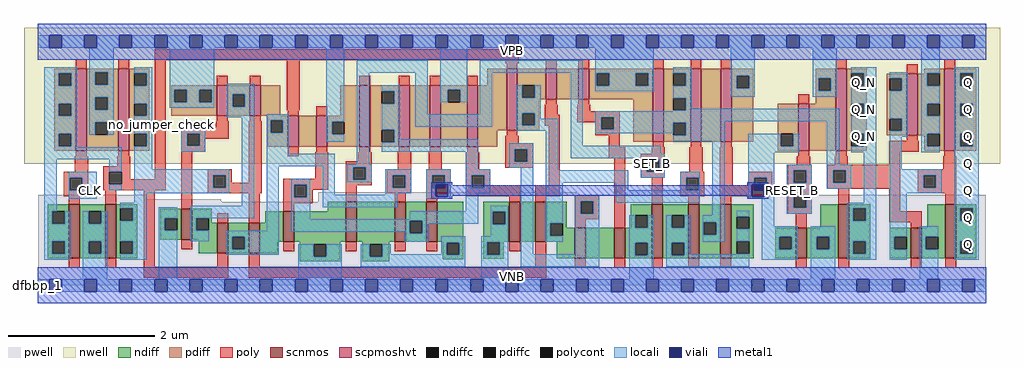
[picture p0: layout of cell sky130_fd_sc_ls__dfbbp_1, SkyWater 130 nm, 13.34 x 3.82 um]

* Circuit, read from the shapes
.subckt sky130_fd_sc_ls__dfbbp_1 CLK D RESET_B SET_B VGND VNB VPB VPWR Q Q_N
XM1 VGND CLK n1 VNB sky130_fd_pr__nfet_01v8 w=0.74 l=0.15
XM2 n2 n1 VGND VNB sky130_fd_pr__nfet_01v8 w=0.74 l=0.15
XM3 n3 D VGND VNB sky130_fd_pr__nfet_01v8 w=0.42 l=0.15
XM4 n4 n1 n3 VNB sky130_fd_pr__nfet_01v8 w=0.42 l=0.15
XM5 n5 n2 n4 VNB sky130_fd_pr__nfet_01v8 w=0.42 l=0.15
XM6 VGND n6 n5 VNB sky130_fd_pr__nfet_01v8 w=0.42 l=0.15
XM7 n7 SET_B VGND VNB sky130_fd_pr__nfet_01v8 w=0.55 l=0.15
XM8 n6 n4 n7 VNB sky130_fd_pr__nfet_01v8 w=0.55 l=0.15
XM9 n7 n8 n6 VNB sky130_fd_pr__nfet_01v8 w=0.55 l=0.15
XM10 n9 n6 VGND VNB sky130_fd_pr__nfet_01v8 w=0.55 l=0.15
XM11 n10 n2 n9 VNB sky130_fd_pr__nfet_01v8 w=0.55 l=0.15
XM12 n11 n1 n10 VNB sky130_fd_pr__nfet_01v8 w=0.42 l=0.15
XM13 VGND n12 n11 VNB sky130_fd_pr__nfet_01v8 w=0.42 l=0.15
XM14 n13 SET_B VGND VNB sky130_fd_pr__nfet_01v8 w=0.74 l=0.15
XM15 n12 n10 n13 VNB sky130_fd_pr__nfet_01v8 w=0.74 l=0.15
XM16 n13 n8 n12 VNB sky130_fd_pr__nfet_01v8 w=0.74 l=0.15
XM17 VGND RESET_B n8 VNB sky130_fd_pr__nfet_01v8 w=0.42 l=0.15
XM18 Q_N n12 VGND VNB sky130_fd_pr__nfet_01v8 w=0.74 l=0.15
XM19 VGND n12 n14 VNB sky130_fd_pr__nfet_01v8 w=0.42 l=0.15
XM20 Q n14 VGND VNB sky130_fd_pr__nfet_01v8 w=0.74 l=0.15
XM21 VPWR CLK n1 VPB sky130_fd_pr__pfet_01v8_hvt w=1.12 l=0.15
XM22 n2 n1 VPWR VPB sky130_fd_pr__pfet_01v8_hvt w=1.12 l=0.15
XM23 n3 D VPWR VPB sky130_fd_pr__pfet_01v8_hvt w=0.42 l=0.15
XM24 n4 n2 n3 VPB sky130_fd_pr__pfet_01v8_hvt w=0.42 l=0.15
XM25 n15 n1 n4 VPB sky130_fd_pr__pfet_01v8_hvt w=0.42 l=0.15
XM26 VPWR n6 n15 VPB sky130_fd_pr__pfet_01v8_hvt w=0.42 l=0.15
XM27 n6 SET_B VPWR VPB sky130_fd_pr__pfet_01v8_hvt w=0.84 l=0.15
XM28 n16 n4 n6 VPB sky130_fd_pr__pfet_01v8_hvt w=0.84 l=0.15
XM29 VPWR n8 n16 VPB sky130_fd_pr__pfet_01v8_hvt w=0.84 l=0.15
XM30 n17 n6 VPWR VPB sky130_fd_pr__pfet_01v8_hvt w=0.84 l=0.15
XM31 n10 n1 n17 VPB sky130_fd_pr__pfet_01v8_hvt w=0.84 l=0.15
XM32 n18 n2 n10 VPB sky130_fd_pr__pfet_01v8_hvt w=0.42 l=0.15
XM33 VPWR n12 n18 VPB sky130_fd_pr__pfet_01v8_hvt w=0.42 l=0.15
XM34 n12 SET_B VPWR VPB sky130_fd_pr__pfet_01v8_hvt w=1 l=0.15
XM35 n19 n10 n12 VPB sky130_fd_pr__pfet_01v8_hvt w=1 l=0.15
XM36 VPWR n8 n19 VPB sky130_fd_pr__pfet_01v8_hvt w=1 l=0.15
XM37 VPWR RESET_B n8 VPB sky130_fd_pr__pfet_01v8_hvt w=0.64 l=0.15
XM38 Q_N n12 VPWR VPB sky130_fd_pr__pfet_01v8_hvt w=1.12 l=0.15
XM39 VPWR n12 n14 VPB sky130_fd_pr__pfet_01v8_hvt w=0.84 l=0.15
XM40 Q n14 VPWR VPB sky130_fd_pr__pfet_01v8_hvt w=1.12 l=0.15
.ends

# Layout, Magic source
magic
tech sky130A
magscale 1 2
<< nwell >>
rect -38 332 2630 704
<< pwell >>
rect 766 248 1472 255
rect 1 235 297 248
rect 1 229 501 235
rect 766 229 2591 248
rect 1 49 2591 229
rect 0 0 2592 49
<< scnmos >>
rect 84 74 114 222
rect 184 74 214 222
rect 392 125 422 209
rect 490 87 520 171
rect 576 87 606 171
rect 671 119 701 203
rect 842 119 872 229
rect 976 119 1006 229
rect 1062 119 1092 229
rect 1288 119 1318 229
rect 1360 119 1390 229
rect 1468 74 1498 158
rect 1576 74 1606 158
rect 1678 74 1708 222
rect 1778 74 1808 222
rect 1865 74 1895 222
rect 2072 74 2102 158
rect 2188 74 2218 222
rect 2386 74 2416 158
rect 2481 74 2511 222
<< scpmoshvt >>
rect 104 368 134 592
rect 220 368 250 592
rect 489 463 519 547
rect 579 463 609 547
rect 683 379 713 463
rect 761 379 791 463
rect 879 379 909 547
rect 987 379 1017 547
rect 1071 379 1101 547
rect 1173 379 1203 547
rect 1281 424 1311 592
rect 1388 508 1418 592
rect 1477 508 1507 592
rect 1681 392 1711 592
rect 1784 392 1814 592
rect 1867 392 1897 592
rect 2078 368 2108 496
rect 2181 368 2211 592
rect 2375 410 2405 578
rect 2478 368 2508 592
<< ndiff >>
rect 27 202 84 222
rect 27 168 39 202
rect 73 168 84 202
rect 27 120 84 168
rect 27 86 39 120
rect 73 86 84 120
rect 27 74 84 86
rect 114 202 184 222
rect 114 168 139 202
rect 173 168 184 202
rect 114 120 184 168
rect 114 86 139 120
rect 173 86 184 120
rect 114 74 184 86
rect 214 210 271 222
rect 214 176 225 210
rect 259 176 271 210
rect 214 120 271 176
rect 214 86 225 120
rect 259 86 271 120
rect 214 74 271 86
rect 335 184 392 209
rect 335 150 347 184
rect 381 150 392 184
rect 335 125 392 150
rect 422 184 475 209
rect 422 150 433 184
rect 467 171 475 184
rect 792 203 842 229
rect 621 171 671 203
rect 467 150 490 171
rect 422 125 490 150
rect 440 87 490 125
rect 520 133 576 171
rect 520 99 531 133
rect 565 99 576 133
rect 520 87 576 99
rect 606 119 671 171
rect 701 119 842 203
rect 872 119 976 229
rect 1006 177 1062 229
rect 1006 143 1017 177
rect 1051 143 1062 177
rect 1006 119 1062 143
rect 1092 119 1163 229
rect 606 87 656 119
rect 716 112 827 119
rect 716 78 754 112
rect 788 78 827 112
rect 887 112 961 119
rect 716 66 827 78
rect 887 78 907 112
rect 941 78 961 112
rect 1107 117 1163 119
rect 887 66 961 78
rect 1107 83 1118 117
rect 1152 83 1163 117
rect 1107 71 1163 83
rect 1217 201 1288 229
rect 1217 167 1243 201
rect 1277 167 1288 201
rect 1217 119 1288 167
rect 1318 119 1360 229
rect 1390 169 1446 229
rect 1390 135 1401 169
rect 1435 158 1446 169
rect 1621 192 1678 222
rect 1621 158 1633 192
rect 1667 158 1678 192
rect 1435 135 1468 158
rect 1390 119 1468 135
rect 1217 118 1273 119
rect 1217 84 1228 118
rect 1262 84 1273 118
rect 1217 72 1273 84
rect 1418 74 1468 119
rect 1498 74 1576 158
rect 1606 116 1678 158
rect 1606 82 1633 116
rect 1667 82 1678 116
rect 1606 74 1678 82
rect 1708 192 1778 222
rect 1708 158 1733 192
rect 1767 158 1778 192
rect 1708 116 1778 158
rect 1708 82 1733 116
rect 1767 82 1778 116
rect 1708 74 1778 82
rect 1808 172 1865 222
rect 1808 138 1820 172
rect 1854 138 1865 172
rect 1808 74 1865 138
rect 1895 188 1957 222
rect 1895 154 1911 188
rect 1945 154 1957 188
rect 2138 158 2188 222
rect 1895 120 1957 154
rect 1895 86 1911 120
rect 1945 86 1957 120
rect 1895 74 1957 86
rect 2015 133 2072 158
rect 2015 99 2027 133
rect 2061 99 2072 133
rect 2015 74 2072 99
rect 2102 133 2188 158
rect 2102 99 2129 133
rect 2163 99 2188 133
rect 2102 74 2188 99
rect 2218 210 2275 222
rect 2218 176 2229 210
rect 2263 176 2275 210
rect 2218 120 2275 176
rect 2431 158 2481 222
rect 2218 86 2229 120
rect 2263 86 2275 120
rect 2218 74 2275 86
rect 2329 133 2386 158
rect 2329 99 2341 133
rect 2375 99 2386 133
rect 2329 74 2386 99
rect 2416 133 2481 158
rect 2416 99 2427 133
rect 2461 99 2481 133
rect 2416 74 2481 99
rect 2511 210 2565 222
rect 2511 176 2522 210
rect 2556 176 2565 210
rect 2511 120 2565 176
rect 2511 86 2522 120
rect 2556 86 2565 120
rect 2511 74 2565 86
<< pdiff >>
rect 45 580 104 592
rect 45 546 57 580
rect 91 546 104 580
rect 45 497 104 546
rect 45 463 57 497
rect 91 463 104 497
rect 45 414 104 463
rect 45 380 57 414
rect 91 380 104 414
rect 45 368 104 380
rect 134 582 220 592
rect 134 548 157 582
rect 191 548 220 582
rect 134 514 220 548
rect 134 480 157 514
rect 191 480 220 514
rect 134 446 220 480
rect 134 412 157 446
rect 191 412 220 446
rect 134 368 220 412
rect 250 580 305 592
rect 250 546 263 580
rect 297 546 305 580
rect 250 497 305 546
rect 250 463 263 497
rect 297 463 305 497
rect 250 414 305 463
rect 250 380 263 414
rect 297 380 305 414
rect 250 368 305 380
rect 365 535 489 547
rect 365 501 373 535
rect 407 501 441 535
rect 475 501 489 535
rect 365 463 489 501
rect 519 522 579 547
rect 519 488 532 522
rect 566 488 579 522
rect 519 463 579 488
rect 609 463 662 547
rect 1228 547 1281 592
rect 826 463 879 547
rect 627 451 683 463
rect 627 417 636 451
rect 670 417 683 451
rect 627 379 683 417
rect 713 379 761 463
rect 791 447 879 463
rect 791 413 804 447
rect 838 413 879 447
rect 791 379 879 413
rect 909 531 987 547
rect 909 497 940 531
rect 974 497 987 531
rect 909 425 987 497
rect 909 391 940 425
rect 974 391 987 425
rect 909 379 987 391
rect 1017 379 1071 547
rect 1101 535 1173 547
rect 1101 501 1120 535
rect 1154 501 1173 535
rect 1101 379 1173 501
rect 1203 424 1281 547
rect 1311 547 1388 592
rect 1311 513 1324 547
rect 1358 513 1388 547
rect 1311 508 1388 513
rect 1418 508 1477 592
rect 1507 580 1681 592
rect 1507 546 1528 580
rect 1562 546 1634 580
rect 1668 546 1681 580
rect 1507 508 1681 546
rect 1311 471 1370 508
rect 1311 437 1324 471
rect 1358 437 1370 471
rect 1311 424 1370 437
rect 1203 379 1256 424
rect 1628 392 1681 508
rect 1711 580 1784 592
rect 1711 546 1737 580
rect 1771 546 1784 580
rect 1711 512 1784 546
rect 1711 478 1737 512
rect 1771 478 1784 512
rect 1711 444 1784 478
rect 1711 410 1737 444
rect 1771 410 1784 444
rect 1711 392 1784 410
rect 1814 392 1867 592
rect 1897 573 1956 592
rect 1897 539 1910 573
rect 1944 539 1956 573
rect 1897 392 1956 539
rect 2126 566 2181 592
rect 2126 532 2134 566
rect 2168 532 2181 566
rect 2126 496 2181 532
rect 2023 414 2078 496
rect 2023 380 2031 414
rect 2065 380 2078 414
rect 2023 368 2078 380
rect 2108 368 2181 496
rect 2211 580 2266 592
rect 2211 546 2224 580
rect 2258 546 2266 580
rect 2423 580 2478 592
rect 2423 578 2431 580
rect 2211 497 2266 546
rect 2211 463 2224 497
rect 2258 463 2266 497
rect 2211 414 2266 463
rect 2211 380 2224 414
rect 2258 380 2266 414
rect 2320 566 2375 578
rect 2320 532 2328 566
rect 2362 532 2375 566
rect 2320 456 2375 532
rect 2320 422 2328 456
rect 2362 422 2375 456
rect 2320 410 2375 422
rect 2405 546 2431 578
rect 2465 546 2478 580
rect 2405 497 2478 546
rect 2405 463 2431 497
rect 2465 463 2478 497
rect 2405 414 2478 463
rect 2405 410 2431 414
rect 2211 368 2266 380
rect 2423 380 2431 410
rect 2465 380 2478 414
rect 2423 368 2478 380
rect 2508 580 2565 592
rect 2508 546 2521 580
rect 2555 546 2565 580
rect 2508 497 2565 546
rect 2508 463 2521 497
rect 2555 463 2565 497
rect 2508 414 2565 463
rect 2508 380 2521 414
rect 2555 380 2565 414
rect 2508 368 2565 380
<< ndiffc >>
rect 39 168 73 202
rect 39 86 73 120
rect 139 168 173 202
rect 139 86 173 120
rect 225 176 259 210
rect 225 86 259 120
rect 347 150 381 184
rect 433 150 467 184
rect 531 99 565 133
rect 1017 143 1051 177
rect 754 78 788 112
rect 907 78 941 112
rect 1118 83 1152 117
rect 1243 167 1277 201
rect 1401 135 1435 169
rect 1633 158 1667 192
rect 1228 84 1262 118
rect 1633 82 1667 116
rect 1733 158 1767 192
rect 1733 82 1767 116
rect 1820 138 1854 172
rect 1911 154 1945 188
rect 1911 86 1945 120
rect 2027 99 2061 133
rect 2129 99 2163 133
rect 2229 176 2263 210
rect 2229 86 2263 120
rect 2341 99 2375 133
rect 2427 99 2461 133
rect 2522 176 2556 210
rect 2522 86 2556 120
<< pdiffc >>
rect 57 546 91 580
rect 57 463 91 497
rect 57 380 91 414
rect 157 548 191 582
rect 157 480 191 514
rect 157 412 191 446
rect 263 546 297 580
rect 263 463 297 497
rect 263 380 297 414
rect 373 501 407 535
rect 441 501 475 535
rect 532 488 566 522
rect 636 417 670 451
rect 804 413 838 447
rect 940 497 974 531
rect 940 391 974 425
rect 1120 501 1154 535
rect 1324 513 1358 547
rect 1528 546 1562 580
rect 1634 546 1668 580
rect 1324 437 1358 471
rect 1737 546 1771 580
rect 1737 478 1771 512
rect 1737 410 1771 444
rect 1910 539 1944 573
rect 2134 532 2168 566
rect 2031 380 2065 414
rect 2224 546 2258 580
rect 2224 463 2258 497
rect 2224 380 2258 414
rect 2328 532 2362 566
rect 2328 422 2362 456
rect 2431 546 2465 580
rect 2431 463 2465 497
rect 2431 380 2465 414
rect 2521 546 2555 580
rect 2521 463 2555 497
rect 2521 380 2555 414
<< poly >>
rect 104 592 134 618
rect 220 592 250 618
rect 320 615 1314 645
rect 104 353 134 368
rect 220 353 250 368
rect 101 310 137 353
rect 217 326 253 353
rect 71 294 137 310
rect 71 260 87 294
rect 121 260 137 294
rect 179 310 253 326
rect 179 276 195 310
rect 229 290 253 310
rect 320 290 350 615
rect 489 547 519 573
rect 579 547 609 573
rect 680 478 716 615
rect 1278 607 1314 615
rect 1281 592 1311 607
rect 1388 592 1418 618
rect 1477 592 1507 618
rect 1681 592 1711 618
rect 1784 592 1814 618
rect 1867 592 1897 618
rect 2181 592 2211 618
rect 879 547 909 573
rect 987 547 1017 573
rect 1071 547 1101 573
rect 1173 547 1203 573
rect 683 463 713 478
rect 761 463 791 489
rect 489 448 519 463
rect 579 448 609 463
rect 486 431 522 448
rect 229 276 350 290
rect 179 260 350 276
rect 392 415 522 431
rect 392 381 408 415
rect 442 401 522 415
rect 442 381 458 401
rect 392 365 458 381
rect 71 244 137 260
rect 84 222 114 244
rect 184 222 214 260
rect 84 48 114 74
rect 184 48 214 74
rect 290 51 320 260
rect 392 209 422 365
rect 464 301 530 317
rect 464 267 480 301
rect 514 281 530 301
rect 576 281 612 448
rect 1388 493 1418 508
rect 1477 493 1507 508
rect 1385 466 1421 493
rect 1474 476 1510 493
rect 1385 436 1426 466
rect 1474 460 1590 476
rect 1474 446 1540 460
rect 1281 409 1311 424
rect 1278 388 1314 409
rect 683 353 713 379
rect 761 364 791 379
rect 879 364 909 379
rect 987 364 1017 379
rect 1071 364 1101 379
rect 1173 364 1203 379
rect 1278 372 1354 388
rect 758 291 794 364
rect 876 339 912 364
rect 514 267 612 281
rect 464 251 612 267
rect 671 275 794 291
rect 490 171 520 197
rect 576 171 606 251
rect 671 241 701 275
rect 735 261 794 275
rect 842 323 912 339
rect 842 289 862 323
rect 896 289 912 323
rect 984 317 1020 364
rect 1068 317 1104 364
rect 1170 317 1206 364
rect 1278 338 1304 372
rect 1338 338 1354 372
rect 1278 322 1354 338
rect 842 273 912 289
rect 954 301 1020 317
rect 735 241 751 261
rect 671 225 751 241
rect 842 229 872 273
rect 954 267 970 301
rect 1004 267 1020 301
rect 954 251 1020 267
rect 1062 301 1128 317
rect 1062 267 1078 301
rect 1112 267 1128 301
rect 1062 251 1128 267
rect 1170 301 1236 317
rect 1170 267 1186 301
rect 1220 274 1236 301
rect 1396 274 1426 436
rect 1524 426 1540 446
rect 1574 426 1590 460
rect 1524 410 1590 426
rect 1560 377 1590 410
rect 2078 496 2108 522
rect 1681 377 1711 392
rect 1784 377 1814 392
rect 1867 377 1897 392
rect 1560 347 1606 377
rect 1678 360 1714 377
rect 1220 267 1318 274
rect 976 229 1006 251
rect 1062 229 1092 251
rect 1170 244 1318 267
rect 1288 229 1318 244
rect 1360 244 1426 274
rect 1360 229 1390 244
rect 1468 230 1534 246
rect 671 203 701 225
rect 392 99 422 125
rect 671 93 701 119
rect 490 51 520 87
rect 290 21 520 51
rect 576 51 606 87
rect 842 93 872 119
rect 976 93 1006 119
rect 1062 93 1092 119
rect 1468 196 1484 230
rect 1518 196 1534 230
rect 1468 180 1534 196
rect 1468 158 1498 180
rect 1576 158 1606 347
rect 1648 344 1714 360
rect 1648 310 1664 344
rect 1698 310 1714 344
rect 1781 310 1817 377
rect 1648 294 1714 310
rect 1756 294 1822 310
rect 1678 222 1708 294
rect 1756 260 1772 294
rect 1806 260 1822 294
rect 1756 244 1822 260
rect 1864 274 1900 377
rect 2375 578 2405 604
rect 2478 592 2508 618
rect 2375 395 2405 410
rect 2078 353 2108 368
rect 2181 353 2211 368
rect 2327 365 2408 395
rect 2075 330 2111 353
rect 2178 330 2214 353
rect 2327 330 2357 365
rect 2478 353 2508 368
rect 2050 314 2116 330
rect 1942 294 2008 310
rect 1942 274 1958 294
rect 1864 260 1958 274
rect 1992 260 2008 294
rect 1864 244 2008 260
rect 2050 280 2066 314
rect 2100 280 2116 314
rect 2050 246 2116 280
rect 2158 314 2357 330
rect 2475 317 2511 353
rect 2158 280 2174 314
rect 2208 280 2357 314
rect 2158 264 2357 280
rect 1778 222 1808 244
rect 1865 222 1895 244
rect 1288 93 1318 119
rect 1360 51 1390 119
rect 2050 212 2066 246
rect 2100 212 2116 246
rect 2188 222 2218 264
rect 2050 196 2116 212
rect 2072 158 2102 196
rect 2327 203 2357 264
rect 2405 301 2511 317
rect 2405 267 2421 301
rect 2455 267 2511 301
rect 2405 251 2511 267
rect 2481 222 2511 251
rect 2327 173 2416 203
rect 2386 158 2416 173
rect 576 21 1390 51
rect 1468 48 1498 74
rect 1576 48 1606 74
rect 1678 48 1708 74
rect 1778 48 1808 74
rect 1865 48 1895 74
rect 2072 48 2102 74
rect 2188 48 2218 74
rect 2386 48 2416 74
rect 2481 48 2511 74
<< polycont >>
rect 87 260 121 294
rect 195 276 229 310
rect 408 381 442 415
rect 480 267 514 301
rect 701 241 735 275
rect 862 289 896 323
rect 1304 338 1338 372
rect 970 267 1004 301
rect 1078 267 1112 301
rect 1186 267 1220 301
rect 1540 426 1574 460
rect 1484 196 1518 230
rect 1664 310 1698 344
rect 1772 260 1806 294
rect 1958 260 1992 294
rect 2066 280 2100 314
rect 2174 280 2208 314
rect 2066 212 2100 246
rect 2421 267 2455 301
<< locali >>
rect 0 649 31 683
rect 65 649 127 683
rect 161 649 223 683
rect 257 649 319 683
rect 353 649 415 683
rect 449 649 511 683
rect 545 649 607 683
rect 641 649 703 683
rect 737 649 799 683
rect 833 649 895 683
rect 929 649 991 683
rect 1025 649 1087 683
rect 1121 649 1183 683
rect 1217 649 1279 683
rect 1313 649 1375 683
rect 1409 649 1471 683
rect 1505 649 1567 683
rect 1601 649 1663 683
rect 1697 649 1759 683
rect 1793 649 1855 683
rect 1889 649 1951 683
rect 1985 649 2047 683
rect 2081 649 2143 683
rect 2177 649 2239 683
rect 2273 649 2335 683
rect 2369 649 2431 683
rect 2465 649 2527 683
rect 2561 649 2592 683
rect 17 580 107 596
rect 17 546 57 580
rect 91 546 107 580
rect 17 497 107 546
rect 17 463 57 497
rect 91 463 107 497
rect 17 414 107 463
rect 17 380 57 414
rect 91 380 107 414
rect 141 582 207 649
rect 141 548 157 582
rect 191 548 207 582
rect 141 514 207 548
rect 141 480 157 514
rect 191 480 207 514
rect 141 446 207 480
rect 141 412 157 446
rect 191 412 207 446
rect 263 580 313 596
rect 297 546 313 580
rect 263 497 313 546
rect 297 463 313 497
rect 361 535 482 649
rect 361 501 373 535
rect 407 501 441 535
rect 475 501 482 535
rect 361 485 482 501
rect 516 522 591 551
rect 516 488 532 522
rect 566 488 591 522
rect 263 414 313 463
rect 516 459 591 488
rect 17 378 107 380
rect 297 380 313 414
rect 17 344 229 378
rect 17 202 51 344
rect 195 310 229 344
rect 85 294 161 310
rect 85 260 87 294
rect 121 260 161 294
rect 195 260 229 276
rect 263 317 313 380
rect 392 415 458 431
rect 392 381 408 415
rect 442 381 458 415
rect 392 365 458 381
rect 263 301 523 317
rect 263 267 480 301
rect 514 267 523 301
rect 85 236 161 260
rect 263 251 523 267
rect 263 226 297 251
rect 225 210 297 226
rect 557 217 591 459
rect 17 168 39 202
rect 73 168 89 202
rect 17 120 89 168
rect 17 86 39 120
rect 73 86 89 120
rect 17 70 89 86
rect 123 168 139 202
rect 173 168 189 202
rect 123 120 189 168
rect 123 86 139 120
rect 173 86 189 120
rect 123 17 189 86
rect 259 176 297 210
rect 225 120 297 176
rect 259 86 297 120
rect 225 70 297 86
rect 331 184 381 213
rect 331 150 347 184
rect 331 17 381 150
rect 417 184 591 217
rect 417 150 433 184
rect 467 183 591 184
rect 625 451 686 467
rect 625 417 636 451
rect 670 417 686 451
rect 625 359 686 417
rect 788 447 838 649
rect 788 413 804 447
rect 788 393 838 413
rect 872 581 1066 615
rect 625 325 812 359
rect 872 331 906 581
rect 940 531 990 547
rect 974 497 990 531
rect 940 425 990 497
rect 1032 467 1066 581
rect 1100 535 1174 649
rect 1100 501 1120 535
rect 1154 501 1174 535
rect 1208 581 1490 615
rect 1208 467 1242 581
rect 1032 433 1242 467
rect 1308 513 1324 547
rect 1358 513 1374 547
rect 1308 471 1374 513
rect 1308 437 1324 471
rect 1358 456 1374 471
rect 1358 437 1422 456
rect 974 399 990 425
rect 1308 422 1422 437
rect 974 391 1204 399
rect 940 365 1204 391
rect 417 121 467 150
rect 625 149 659 325
rect 515 133 659 149
rect 693 275 744 291
rect 693 241 701 275
rect 735 241 744 275
rect 693 180 744 241
rect 778 248 812 325
rect 846 323 912 331
rect 846 289 862 323
rect 896 289 912 323
rect 1170 317 1204 365
rect 1288 372 1354 388
rect 1288 338 1304 372
rect 1338 338 1354 372
rect 1288 322 1354 338
rect 846 282 912 289
rect 949 301 1020 317
rect 949 267 970 301
rect 1004 267 1020 301
rect 949 251 1020 267
rect 1062 301 1128 317
rect 1062 267 1078 301
rect 1112 276 1128 301
rect 949 248 983 251
rect 778 214 983 248
rect 1062 242 1087 267
rect 1121 242 1128 276
rect 1062 236 1128 242
rect 1170 301 1236 317
rect 1170 267 1186 301
rect 1220 267 1236 301
rect 1170 251 1236 267
rect 1170 202 1204 251
rect 1017 180 1204 202
rect 693 177 1204 180
rect 693 146 1017 177
rect 515 99 531 133
rect 565 99 659 133
rect 1003 143 1017 146
rect 1051 168 1204 177
rect 1238 201 1286 217
rect 1051 143 1067 168
rect 1003 119 1067 143
rect 1238 167 1243 201
rect 1277 167 1286 201
rect 1238 134 1286 167
rect 1102 117 1168 134
rect 515 83 659 99
rect 712 78 754 112
rect 788 78 831 112
rect 712 17 831 78
rect 883 78 907 112
rect 941 85 965 112
rect 1102 85 1118 117
rect 941 83 1118 85
rect 1152 83 1168 117
rect 941 78 1168 83
rect 883 51 1168 78
rect 1212 118 1286 134
rect 1212 84 1228 118
rect 1262 84 1286 118
rect 1212 17 1286 84
rect 1320 85 1354 322
rect 1388 314 1422 422
rect 1456 382 1490 581
rect 1524 580 1684 649
rect 1524 546 1528 580
rect 1562 546 1634 580
rect 1668 546 1684 580
rect 1524 530 1684 546
rect 1737 580 1787 596
rect 1771 546 1787 580
rect 1737 512 1787 546
rect 1894 573 1960 649
rect 1894 539 1910 573
rect 1944 539 1960 573
rect 1894 516 1960 539
rect 2118 566 2184 649
rect 2118 532 2134 566
rect 2168 532 2184 566
rect 2118 516 2184 532
rect 2224 580 2292 596
rect 2258 546 2292 580
rect 1771 482 1787 512
rect 2224 497 2292 546
rect 1771 478 2190 482
rect 1737 476 2190 478
rect 1524 460 2190 476
rect 1524 426 1540 460
rect 1574 448 2190 460
rect 1574 444 1877 448
rect 1574 426 1737 444
rect 1524 416 1737 426
rect 1771 410 1877 444
rect 1737 394 1877 410
rect 1456 360 1703 382
rect 1456 348 1714 360
rect 1648 344 1714 348
rect 1388 280 1614 314
rect 1648 310 1664 344
rect 1698 310 1714 344
rect 1648 294 1714 310
rect 1756 294 1809 310
rect 1388 169 1435 280
rect 1580 260 1614 280
rect 1756 260 1772 294
rect 1806 260 1809 294
rect 1388 135 1401 169
rect 1388 119 1435 135
rect 1469 230 1534 246
rect 1469 196 1484 230
rect 1518 196 1534 230
rect 1580 226 1809 260
rect 1469 85 1534 196
rect 1843 192 1877 394
rect 1942 380 2031 414
rect 2065 380 2081 414
rect 1942 364 2081 380
rect 1942 294 2013 364
rect 2156 330 2190 448
rect 2258 463 2292 497
rect 2224 414 2292 463
rect 2258 380 2292 414
rect 2224 364 2292 380
rect 1942 276 1958 294
rect 1942 242 1951 276
rect 1992 260 2013 294
rect 1985 242 2013 260
rect 1942 238 2013 242
rect 1320 51 1534 85
rect 1617 158 1633 192
rect 1667 158 1683 192
rect 1617 116 1683 158
rect 1617 82 1633 116
rect 1667 82 1683 116
rect 1617 17 1683 82
rect 1717 158 1733 192
rect 1767 158 1783 192
rect 1717 116 1783 158
rect 1817 172 1877 192
rect 1817 138 1820 172
rect 1854 138 1877 172
rect 1817 119 1877 138
rect 1911 188 1945 204
rect 1911 120 1945 154
rect 1717 82 1733 116
rect 1767 85 1783 116
rect 1911 85 1945 86
rect 1767 82 1945 85
rect 1717 51 1945 82
rect 1979 162 2013 238
rect 2047 314 2116 330
rect 2047 280 2066 314
rect 2100 280 2116 314
rect 2047 246 2116 280
rect 2156 314 2224 330
rect 2156 280 2174 314
rect 2208 280 2224 314
rect 2156 264 2224 280
rect 2047 212 2066 246
rect 2100 212 2116 246
rect 2258 226 2292 364
rect 2047 196 2116 212
rect 2213 210 2292 226
rect 2213 176 2229 210
rect 2263 176 2292 210
rect 1979 133 2077 162
rect 1979 99 2027 133
rect 2061 99 2077 133
rect 1979 70 2077 99
rect 2113 133 2179 162
rect 2113 99 2129 133
rect 2163 99 2179 133
rect 2113 17 2179 99
rect 2213 120 2292 176
rect 2213 86 2229 120
rect 2263 86 2292 120
rect 2213 70 2292 86
rect 2328 566 2378 582
rect 2362 532 2378 566
rect 2328 456 2378 532
rect 2362 422 2378 456
rect 2328 406 2378 422
rect 2415 580 2465 649
rect 2415 546 2431 580
rect 2415 497 2465 546
rect 2415 463 2431 497
rect 2415 414 2465 463
rect 2328 317 2362 406
rect 2415 380 2431 414
rect 2415 364 2465 380
rect 2505 580 2572 596
rect 2505 546 2521 580
rect 2555 546 2572 580
rect 2505 497 2572 546
rect 2505 463 2521 497
rect 2555 463 2572 497
rect 2505 414 2572 463
rect 2505 380 2521 414
rect 2555 380 2572 414
rect 2328 301 2471 317
rect 2328 267 2421 301
rect 2455 267 2471 301
rect 2328 251 2471 267
rect 2328 133 2375 251
rect 2505 210 2572 380
rect 2505 176 2522 210
rect 2556 176 2572 210
rect 2328 99 2341 133
rect 2328 70 2375 99
rect 2411 133 2461 162
rect 2411 99 2427 133
rect 2411 17 2461 99
rect 2505 120 2572 176
rect 2505 86 2522 120
rect 2556 86 2572 120
rect 2505 70 2572 86
rect 0 -17 31 17
rect 65 -17 127 17
rect 161 -17 223 17
rect 257 -17 319 17
rect 353 -17 415 17
rect 449 -17 511 17
rect 545 -17 607 17
rect 641 -17 703 17
rect 737 -17 799 17
rect 833 -17 895 17
rect 929 -17 991 17
rect 1025 -17 1087 17
rect 1121 -17 1183 17
rect 1217 -17 1279 17
rect 1313 -17 1375 17
rect 1409 -17 1471 17
rect 1505 -17 1567 17
rect 1601 -17 1663 17
rect 1697 -17 1759 17
rect 1793 -17 1855 17
rect 1889 -17 1951 17
rect 1985 -17 2047 17
rect 2081 -17 2143 17
rect 2177 -17 2239 17
rect 2273 -17 2335 17
rect 2369 -17 2431 17
rect 2465 -17 2527 17
rect 2561 -17 2592 17
<< viali >>
rect 31 649 65 683
rect 127 649 161 683
rect 223 649 257 683
rect 319 649 353 683
rect 415 649 449 683
rect 511 649 545 683
rect 607 649 641 683
rect 703 649 737 683
rect 799 649 833 683
rect 895 649 929 683
rect 991 649 1025 683
rect 1087 649 1121 683
rect 1183 649 1217 683
rect 1279 649 1313 683
rect 1375 649 1409 683
rect 1471 649 1505 683
rect 1567 649 1601 683
rect 1663 649 1697 683
rect 1759 649 1793 683
rect 1855 649 1889 683
rect 1951 649 1985 683
rect 2047 649 2081 683
rect 2143 649 2177 683
rect 2239 649 2273 683
rect 2335 649 2369 683
rect 2431 649 2465 683
rect 2527 649 2561 683
rect 1087 267 1112 276
rect 1112 267 1121 276
rect 1087 242 1121 267
rect 1951 260 1958 276
rect 1958 260 1985 276
rect 1951 242 1985 260
rect 31 -17 65 17
rect 127 -17 161 17
rect 223 -17 257 17
rect 319 -17 353 17
rect 415 -17 449 17
rect 511 -17 545 17
rect 607 -17 641 17
rect 703 -17 737 17
rect 799 -17 833 17
rect 895 -17 929 17
rect 991 -17 1025 17
rect 1087 -17 1121 17
rect 1183 -17 1217 17
rect 1279 -17 1313 17
rect 1375 -17 1409 17
rect 1471 -17 1505 17
rect 1567 -17 1601 17
rect 1663 -17 1697 17
rect 1759 -17 1793 17
rect 1855 -17 1889 17
rect 1951 -17 1985 17
rect 2047 -17 2081 17
rect 2143 -17 2177 17
rect 2239 -17 2273 17
rect 2335 -17 2369 17
rect 2431 -17 2465 17
rect 2527 -17 2561 17
<< metal1 >>
rect 0 683 2592 715
rect 0 649 31 683
rect 65 649 127 683
rect 161 649 223 683
rect 257 649 319 683
rect 353 649 415 683
rect 449 649 511 683
rect 545 649 607 683
rect 641 649 703 683
rect 737 649 799 683
rect 833 649 895 683
rect 929 649 991 683
rect 1025 649 1087 683
rect 1121 649 1183 683
rect 1217 649 1279 683
rect 1313 649 1375 683
rect 1409 649 1471 683
rect 1505 649 1567 683
rect 1601 649 1663 683
rect 1697 649 1759 683
rect 1793 649 1855 683
rect 1889 649 1951 683
rect 1985 649 2047 683
rect 2081 649 2143 683
rect 2177 649 2239 683
rect 2273 649 2335 683
rect 2369 649 2431 683
rect 2465 649 2527 683
rect 2561 649 2592 683
rect 0 617 2592 649
rect 1075 276 1133 282
rect 1075 242 1087 276
rect 1121 273 1133 276
rect 1939 276 1997 282
rect 1939 273 1951 276
rect 1121 245 1951 273
rect 1121 242 1133 245
rect 1075 236 1133 242
rect 1939 242 1951 245
rect 1985 242 1997 276
rect 1939 236 1997 242
rect 0 17 2592 49
rect 0 -17 31 17
rect 65 -17 127 17
rect 161 -17 223 17
rect 257 -17 319 17
rect 353 -17 415 17
rect 449 -17 511 17
rect 545 -17 607 17
rect 641 -17 703 17
rect 737 -17 799 17
rect 833 -17 895 17
rect 929 -17 991 17
rect 1025 -17 1087 17
rect 1121 -17 1183 17
rect 1217 -17 1279 17
rect 1313 -17 1375 17
rect 1409 -17 1471 17
rect 1505 -17 1567 17
rect 1601 -17 1663 17
rect 1697 -17 1759 17
rect 1793 -17 1855 17
rect 1889 -17 1951 17
rect 1985 -17 2047 17
rect 2081 -17 2143 17
rect 2177 -17 2239 17
rect 2273 -17 2335 17
rect 2369 -17 2431 17
rect 2465 -17 2527 17
rect 2561 -17 2592 17
rect 0 -49 2592 -17
<< labels >>
flabel comment s 337 439 337 439 0 FreeSans 200 0 0 0 no_jumper_check
rlabel comment s 0 0 0 0 4 dfbbp_1
flabel pwell s 0 0 2592 49 0 FreeSans 200 0 0 0 VNB
port 6 nsew ground bidirectional
flabel nwell s 0 617 2592 666 0 FreeSans 200 0 0 0 VPB
port 7 nsew power bidirectional
flabel metal1 s 0 617 2592 666 0 FreeSans 340 0 0 0 VPWR
port 8 nsew power bidirectional abutment
flabel metal1 s 0 0 2592 49 0 FreeSans 340 0 0 0 VGND
port 5 nsew ground bidirectional abutment
flabel locali s 2527 94 2561 128 0 FreeSans 340 0 0 0 Q
port 9 nsew signal output
flabel locali s 2527 168 2561 202 0 FreeSans 340 0 0 0 Q
port 9 nsew signal output
flabel locali s 2527 242 2561 276 0 FreeSans 340 0 0 0 Q
port 9 nsew signal output
flabel locali s 2527 316 2561 350 0 FreeSans 340 0 0 0 Q
port 9 nsew signal output
flabel locali s 2527 390 2561 424 0 FreeSans 340 0 0 0 Q
port 9 nsew signal output
flabel locali s 2527 464 2561 498 0 FreeSans 340 0 0 0 Q
port 9 nsew signal output
flabel locali s 2527 538 2561 572 0 FreeSans 340 0 0 0 Q
port 9 nsew signal output
flabel locali s 127 242 161 276 0 FreeSans 340 0 0 0 CLK
port 1 nsew clock input
flabel locali s 415 390 449 424 0 FreeSans 340 0 0 0 D
port 2 nsew signal input
flabel locali s 2047 242 2081 276 0 FreeSans 340 0 0 0 RESET_B
port 3 nsew signal input
flabel locali s 2239 390 2273 424 0 FreeSans 340 0 0 0 Q_N
port 10 nsew signal output
flabel locali s 2239 464 2273 498 0 FreeSans 340 0 0 0 Q_N
port 10 nsew signal output
flabel locali s 2239 538 2273 572 0 FreeSans 340 0 0 0 Q_N
port 10 nsew signal output
flabel locali s 1663 316 1697 350 0 FreeSans 340 0 0 0 SET_B
port 4 nsew signal input
<< properties >>
string LEFsite unit
string LEFclass CORE
string FIXED_BBOX 0 0 2592 666
string GDS_FILE $PDKPATH/libs.ref/sky130_fd_sc_ls/gds/sky130_fd_sc_ls.gds
string LEFsymmetry X Y
string GDS_END 3980480
string GDS_START 3960624
<< end >>
